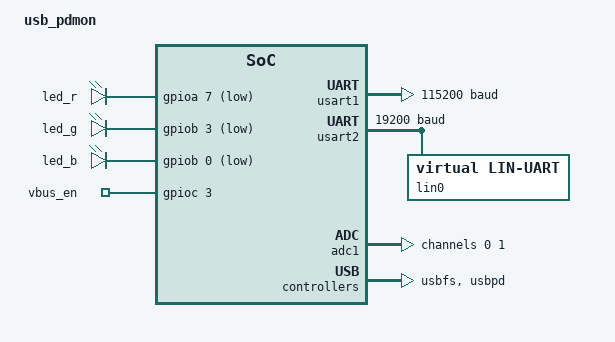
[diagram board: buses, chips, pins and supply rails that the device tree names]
/dts-v1/;

#include <wch/wch_ch32x035.dtsi>
#include <dt-bindings/adc/adc.h>
#include <dt-bindings/gpio/gpio.h>
#include <dt-bindings/usb-c/pd.h>
#include <zephyrboards/dt-bindings/pinctrl/ch32x035-pinctrl.h>

/ {
    model = "usb_pdmon";
    compatible = "wch,ch32x035";

    chosen {
        zephyr,sram = &sram0;
        zephyr,flash = &flash0;
        zephyr,console = &usart1;
    };

    aliases {
        led0 = &led_r;
        led1 = &led_g;
        led2 = &led_b;
    };

    leds {
        compatible = "gpio-leds";
        led_r:   led_r   { gpios = <&gpioa 7 GPIO_ACTIVE_LOW>;  };
        led_g:   led_g   { gpios = <&gpiob 3 GPIO_ACTIVE_LOW>;  };
        led_b:   led_b   { gpios = <&gpiob 0 GPIO_ACTIVE_LOW>;  };
        vbus_en: vbus_en { gpios = <&gpioc 3 GPIO_ACTIVE_HIGH>; };
    };

    ports {
        #address-cells = <1>;
        #size-cells = <0>;

        port1: usbc-port@1 {
            compatible = "usb-c-connector";
            reg = <1>;
            tcpc = <&usbpd>;
            vbus = <&vbus1>;
            power-role = "sink";
            sink-pdos = <
                PDO_FIXED(5000,  3000, 0) /* 5V,  3A */
                PDO_FIXED(9000,  3000, 0) /* 9V,  3A */
                PDO_FIXED(15000, 3000, 0) /* 15V, 3A */
                PDO_FIXED(20000, 5000, 0) /* 20V, 5A */
            >;
        };
    };
};

&usart1 {
    pinctrl = <PB10 PB11>;
    remap = <GPIO_PartialRemap2_USART1>;
    current-speed = <115200>;
    status = "okay";
};

&usart2 {
    pinctrl = <PA2 PA3>;
    current-speed = <19200>;
    status = "okay";
    lin0: lin0 {
        compatible = "virtual,lin-uart";
        status = "okay";
        bitrate = <19200>;
    };
};

&gpioa {
    status = "okay";
};

&gpiob {
    status = "okay";
};

&gpioc {
    status = "okay";
};

&adc1 {
    vref-mv = <3300>; // mV
    prescaler = <ADC_CLK_DIV16>;
    status = "okay";

    ibus_mon: channel@0 {
        reg = <0>;
        zephyr,gain = "ADC_GAIN_1";
        zephyr,reference = "ADC_REF_INTERNAL";
        zephyr,acquisition-time = <ADC_ACQ_TIME_DEFAULT>;
        zephyr,resolution = <12>;
    };

    vbus_mon: channel@1 {
        reg = <1>;
        zephyr,gain = "ADC_GAIN_1";
        zephyr,reference = "ADC_REF_INTERNAL";
        zephyr,acquisition-time = <ADC_ACQ_TIME_CH32(8, ADC_SAMPLE_TIME_11)>;
        zephyr,resolution = <12>;
    };

    vbus1: vbus {
        compatible = "zephyr,usb-c-vbus-adc";
        io-channels = <&adc1 1>; // vbus_mon
        output-ohms = <10000>;
        full-ohms = <(100000 + 10000)>;
        power-gpios = <&gpioc 3 GPIO_ACTIVE_HIGH>; // vbus_en
    };
};

zephyr_udc0: &usbfs {
    status = "okay";
};

&usbpd {
    status = "okay";
};
